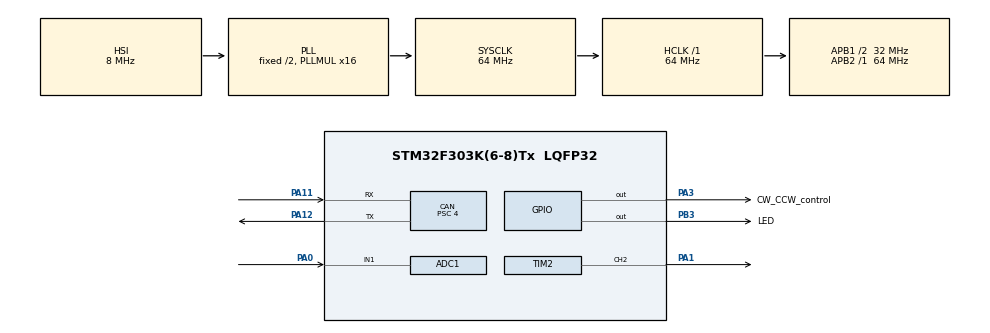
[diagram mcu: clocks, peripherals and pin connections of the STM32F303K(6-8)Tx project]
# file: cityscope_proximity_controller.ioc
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ADC1.Channel-0\#ChannelRegularConversion=ADC_CHANNEL_1
ADC1.NbrOfConversionFlag=1
ADC1.Offset-0\#ChannelRegularConversion=0
ADC1.OffsetNumber-0\#ChannelRegularConversion=ADC_OFFSET_NONE
ADC1.Rank-0\#ChannelRegularConversion=1
ADC1.SamplingTime-0\#ChannelRegularConversion=ADC_SAMPLETIME_1CYCLE_5
ADC1.SamplingTimeOPAMP-0\#ChannelRegularConversion=ADC_SAMPLETIME_61CYCLES_5
ADC1.SubFamily=STM32F303x8
ADC1.master=1
CAN.ABOM=ENABLE
CAN.AWUM=ENABLE
CAN.BS1=CAN_BS1_13TQ
CAN.BS2=CAN_BS2_2TQ
CAN.CalculateBaudRate=500000
CAN.CalculateTimeBit=2000
CAN.CalculateTimeQuantum=125.0
CAN.NART=ENABLE
CAN.Prescaler=4
CAN.RFLM=ENABLE
CAN.SJW=CAN_SJW_2TQ
CAN.TTCM=ENABLE
CAN.TXFP=ENABLE
Dma.Request0=TIM2_CH2/CH4
Dma.TIM2_CH2/CH4.0.Direction=DMA_MEMORY_TO_PERIPH
Dma.TIM2_CH2/CH4.0.Instance=DMA1_Channel7
Dma.TIM2_CH2/CH4.0.MemDataAlignment=DMA_MDATAALIGN_WORD
Dma.TIM2_CH2/CH4.0.MemInc=DMA_MINC_ENABLE
Dma.TIM2_CH2/CH4.0.Mode=DMA_NORMAL
Dma.TIM2_CH2/CH4.0.PeriphDataAlignment=DMA_PDATAALIGN_WORD
Dma.TIM2_CH2/CH4.0.PeriphInc=DMA_PINC_DISABLE
Dma.TIM2_CH2/CH4.0.Priority=DMA_PRIORITY_HIGH
FREERTOS.Tasks01=PIDTask,40,128,StartPIDTask,Default,NULL,Dynamic,NULL,NULL;canopenTask,48,128,canopen_task,Default,NULL,Dynamic,NULL,NULL
Mcu.Family=STM32F3
Mcu.Name=STM32F303K(6-8)Tx
Mcu.Package=LQFP32
NVIC.CAN_RX0_IRQn=true\:5\:0\:false\:false\:true\:true\:true\:true\:true
NVIC.CAN_RX1_IRQn=true\:5\:0\:false\:false\:true\:true\:true\:true\:true
NVIC.CAN_TX_IRQn=true\:5\:0\:false\:false\:true\:true\:true\:true\:true
NVIC.DMA1_Channel7_IRQn=true\:5\:0\:false\:false\:true\:true\:false\:true\:true
NVIC.PriorityGroup=NVIC_PRIORITYGROUP_4
NVIC.TIM1_TRG_COM_TIM17_IRQn=true\:5\:0\:false\:false\:true\:true\:true\:true\:true
NVIC.TIM1_UP_TIM16_IRQn=true\:15\:0\:false\:false\:true\:false\:false\:true\:true
NVIC.TIM2_IRQn=true\:5\:0\:false\:false\:true\:true\:true\:true\:true
NVIC.TIM6_DAC1_IRQn=true\:5\:0\:false\:false\:true\:true\:true\:true\:true
NVIC.TimeBase=TIM1_UP_TIM16_IRQn
NVIC.TimeBaseIP=TIM1
PA0.Mode=IN1-Single-Ended
PA0.Signal=ADC1_IN1
PA1.Signal=S_TIM2_CH2
PA11.GPIO_PuPd=GPIO_PULLUP
PA11.Mode=CAN_Activate
PA11.Signal=CAN_RX
PA12.Mode=CAN_Activate
PA12.Signal=CAN_TX
PA13.Mode=Serial_Wire
PA13.Signal=SYS_JTMS-SWDIO
PA14.Mode=Serial_Wire
PA14.Signal=SYS_JTCK-SWCLK
PA3.GPIO_Label=CW_CCW_control
PA3.GPIO_Speed=GPIO_SPEED_FREQ_HIGH
PA3.PinState=GPIO_PIN_SET
PA3.Signal=GPIO_Output
PB3.GPIO_Label=LED
PB3.Signal=GPIO_Output
ProjectManager.HeapSize=0x200
ProjectManager.StackSize=0x400
ProjectManager.TargetToolchain=Makefile
RCC.AHBFreq_Value=64000000
RCC.APB1CLKDivider=RCC_HCLK_DIV2
RCC.APB1Freq_Value=32000000
RCC.APB1TimFreq_Value=64000000
RCC.APB2Freq_Value=64000000
RCC.APB2TimFreq_Value=64000000
RCC.CortexFreq_Value=64000000
RCC.HCLKFreq_Value=64000000
RCC.HSE_VALUE=8000000
RCC.HSI_VALUE=8000000
RCC.PLLMUL=RCC_PLL_MUL16
RCC.SYSCLKFreq_VALUE=64000000
RCC.SYSCLKSourceVirtual=RCC_SYSCLKSOURCE_PLLCLK
SH.S_TIM2_CH2.0=TIM2_CH2,PWM Generation2 CH2
TIM17.Period=1000
TIM17.Prescaler=63
TIM2.AutoReloadPreload=TIM_AUTORELOAD_PRELOAD_ENABLE
TIM2.Channel-PWM\ Generation2\ CH2=TIM_CHANNEL_2
TIM2.Period=100-1
TIM2.Prescaler=32-1
TIM6.Period=20000-1
TIM6.Prescaler=640-1
VP_FREERTOS_VS_CMSIS_V2.Mode=CMSIS_V2
VP_SYS_VS_tim1.Mode=TIM1
VP_TIM17_VS_ClockSourceINT.Mode=Enable_Timer
VP_TIM2_VS_ClockSourceINT.Mode=Internal
VP_TIM3_VS_ClockSourceINT.Mode=Internal
VP_TIM6_VS_ClockSourceINT.Mode=Enable_Timer
board=custom

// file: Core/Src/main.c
/* USER CODE BEGIN Header */
/**
 ******************************************************************************
 * @file           : main.c
 * @brief          : Main program body
 ******************************************************************************
 * @attention
 *
 * Copyright (c) 2023 STMicroelectronics.
 * All rights reserved.
 *
 * This software is licensed under terms that can be found in the LICENSE file
 * in the root directory of this software component.
 * If no LICENSE file comes with this software, it is provided AS-IS.
 *
 ******************************************************************************
 */
/* USER CODE END Header */
#include "main.h"
#include "cmsis_os.h"
#include "adc.h"
#include "can.h"
#include "dma.h"
#include "tim.h"
#include "gpio.h"

/* USER CODE BEGIN Includes */
#include "CO_app_STM32.h"
/* USER CODE END Includes */

void SystemClock_Config(void);
void MX_FREERTOS_Init(void);
/* USER CODE BEGIN PFP */
uint32_t get_NodeID(void);
int16_t *get_time_counter(void);
uint32_t NodeID[1];
int16_t timer_counter = 0;
/* USER CODE END PFP */

int main(void)
{

  /* MCU Configuration--------------------------------------------------------*/

  /* Reset of all peripherals, Initializes the Flash interface and the Systick. */
  HAL_Init();

  /* Configure the system clock */
  SystemClock_Config();

  /* Initialize all configured peripherals */
  MX_GPIO_Init();
  MX_DMA_Init();
  MX_CAN_Init();
  MX_TIM17_Init();
  MX_TIM3_Init();
  MX_TIM2_Init();
  MX_ADC1_Init();
  MX_TIM6_Init();
  /* USER CODE BEGIN 2 */
  HAL_TIM_Base_Start_IT(&htim6);
  /* USER CODE END 2 */

  /* Init scheduler */
  osKernelInitialize();  /* Call init function for freertos objects (in freertos.c) */
  MX_FREERTOS_Init();

  /* Start scheduler */
  osKernelStart();

  /* We should never get here as control is now taken by the scheduler */
  /* Infinite loop */
  while (1)
  {

  }
}

void SystemClock_Config(void)
{
  RCC_OscInitTypeDef RCC_OscInitStruct = {0};
  RCC_ClkInitTypeDef RCC_ClkInitStruct = {0};
  RCC_PeriphCLKInitTypeDef PeriphClkInit = {0};

  /** Initializes the RCC Oscillators according to the specified parameters
  * in the RCC_OscInitTypeDef structure.
  */
  RCC_OscInitStruct.OscillatorType = RCC_OSCILLATORTYPE_HSI;
  RCC_OscInitStruct.HSIState = RCC_HSI_ON;
  RCC_OscInitStruct.HSICalibrationValue = RCC_HSICALIBRATION_DEFAULT;
  RCC_OscInitStruct.PLL.PLLState = RCC_PLL_ON;
  RCC_OscInitStruct.PLL.PLLSource = RCC_PLLSOURCE_HSI;
  RCC_OscInitStruct.PLL.PLLMUL = RCC_PLL_MUL16;
  if (HAL_RCC_OscConfig(&RCC_OscInitStruct) != HAL_OK)
  {
    Error_Handler();
  }

  /** Initializes the CPU, AHB and APB buses clocks
  */
  RCC_ClkInitStruct.ClockType = RCC_CLOCKTYPE_HCLK|RCC_CLOCKTYPE_SYSCLK
                              |RCC_CLOCKTYPE_PCLK1|RCC_CLOCKTYPE_PCLK2;
  RCC_ClkInitStruct.SYSCLKSource = RCC_SYSCLKSOURCE_PLLCLK;
  RCC_ClkInitStruct.AHBCLKDivider = RCC_SYSCLK_DIV1;
  RCC_ClkInitStruct.APB1CLKDivider = RCC_HCLK_DIV2;
  RCC_ClkInitStruct.APB2CLKDivider = RCC_HCLK_DIV1;

  if (HAL_RCC_ClockConfig(&RCC_ClkInitStruct, FLASH_LATENCY_2) != HAL_OK)
  {
    Error_Handler();
  }
  PeriphClkInit.PeriphClockSelection = RCC_PERIPHCLK_ADC12;
  PeriphClkInit.Adc12ClockSelection = RCC_ADC12PLLCLK_DIV1;
  if (HAL_RCCEx_PeriphCLKConfig(&PeriphClkInit) != HAL_OK)
  {
    Error_Handler();
  }
}

/* USER CODE BEGIN 4 */
uint32_t get_NodeID(void)
{
  return NodeID[0];
}

int16_t *get_time_counter(void)
{
  return &timer_counter;
}
/* USER CODE END 4 */

void HAL_TIM_PeriodElapsedCallback(TIM_HandleTypeDef *htim)
{
  if (htim->Instance == TIM1) {
    HAL_IncTick();
  }
  /* USER CODE BEGIN Callback 1 */
  if (htim == canopenNodeSTM32->timerHandle)
  {
    canopen_app_interrupt();
  }
  if (htim->Instance == TIM6)
  {
    timer_counter = (timer_counter + 1) % 5;
  }
  /* USER CODE END Callback 1 */
}

void Error_Handler(void)
{
  __disable_irq();
  while (1)
  {
  }
}

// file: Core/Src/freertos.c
/* USER CODE BEGIN Header */
/**
 ******************************************************************************
 * File Name          : freertos.c
 * Description        : Code for freertos applications
 ******************************************************************************
 * @attention
 *
 * Copyright (c) 2023 STMicroelectronics.
 * All rights reserved.
 *
 * This software is licensed under terms that can be found in the LICENSE file
 * in the root directory of this software component.
 * If no LICENSE file comes with this software, it is provided AS-IS.
 *
 ******************************************************************************
 */
/* USER CODE END Header */

#include "FreeRTOS.h"
#include "task.h"
#include "main.h"
#include "cmsis_os.h"
/* USER CODE BEGIN Includes */
#include "CO_app_STM32.h"
#include "OD.h"
#include "tim.h"
#include "comment.h"
#include "can.h"
#include "pid.h"
#include "adc.h"
#define Timer_ARR 5
/* USER CODE END Includes */

/* Definitions for PIDTask */
osThreadId_t PIDTaskHandle;
const osThreadAttr_t PIDTask_attributes = {
    .name = "PIDTask",
    .stack_size = 128 * 4,
    .priority = (osPriority_t)osPriorityHigh,
};
/* Definitions for canopenTask */
osThreadId_t canopenTaskHandle;
const osThreadAttr_t canopenTask_attributes = {
    .name = "canopenTask",
    .stack_size = 128 * 4,
    .priority = (osPriority_t)osPriorityRealtime,
};

/* USER CODE BEGIN FunctionPrototypes */
PID_TypeDef TPID;
volatile double CCR_value = 0;
volatile double current_voltage = 0;
volatile double current_angle = 0;
volatile double db_target_angle = 0;

bool PID_contorl_lock = false;
int voltage_counter = 0;
volatile double previous_voltage = 0;
volatile double previos_error = 0;

bool protection_lock = false;
bool PID_safe_lock = false;

void TPDO_tarnsmit(uint8_t status, int16_t angle);
void analyze_voltage(void);
void PID_Error_handler(void);
void CW_CCW_deect(void);
void PID_init(void);
void PID_protection(void);
double abs(double a);
/* USER CODE END FunctionPrototypes */

void StartPIDTask(void *argument);
void canopen_task(void *argument);

void MX_FREERTOS_Init(void); /* (MISRA C 2004 rule 8.1) */

void MX_FREERTOS_Init(void)
{

  /* Create the thread(s) */
  /* creation of PIDTask */
  PIDTaskHandle = osThreadNew(StartPIDTask, NULL, &PIDTask_attributes);

  /* creation of canopenTask */
  canopenTaskHandle = osThreadNew(canopen_task, NULL, &canopenTask_attributes);

}

void StartPIDTask(void *argument)
{
  /* USER CODE BEGIN StartPIDTask */
  PID_init();
  /* Infinite loop */
  for (;;)
  {
    while (!PID_contorl_lock)
    {
    }
    analyze_voltage();
    CW_CCW_deect();
    PID_Compute(&TPID);
    CCR_value = abs(CCR_value);
    PID_protection();
    if (PID_safe_lock == false)
    {
      if (abs(current_angle - db_target_angle) < 2)
      {
        TIM2->CCR2 = 0;
      }
      else
      {
        TIM2->CCR2 = ((int)CCR_value * 10);
      }
    }
    else
    {
      HAL_GPIO_TogglePin(LED_GPIO_Port, LED_Pin);
    }
    osDelay(50);
  }
  /* USER CODE END StartPIDTask */
}

void canopen_task(void *argument)
{
  /* USER CODE BEGIN canopen_task */
  CANopenNodeSTM32 canOpenNodeSTM32;
  canOpenNodeSTM32.CANHandle = &hcan;
  canOpenNodeSTM32.HWInitFunction = MX_CAN_Init;
  canOpenNodeSTM32.timerHandle = &htim17;
  canOpenNodeSTM32.desiredNodeID = 17;
  canOpenNodeSTM32.baudrate = 125;
  canopen_app_init(&canOpenNodeSTM32);
  int8_t pre_target_angle = OD_PERSIST_COMM.x6001_target_angle;
  uint8_t pre_target_CW_CCW = OD_PERSIST_COMM.x6004_target_CW_CCW;
  db_target_angle = OD_PERSIST_COMM.x6001_target_angle;
  /* Infinite loop */
  for (;;)
  {
    canopen_app_process();
    if (OD_PERSIST_COMM.x6001_target_angle != pre_target_angle || OD_PERSIST_COMM.x6004_target_CW_CCW != pre_target_CW_CCW)
    {
      PID_contorl_lock = true;
      if (OD_PERSIST_COMM.x6001_target_angle > 40 && OD_PERSIST_COMM.x6004_target_CW_CCW == 0)
      {
        db_target_angle = 35;
        TPDO_tarnsmit(6, 99);
      }
      else if (OD_PERSIST_COMM.x6001_target_angle < 40 && OD_PERSIST_COMM.x6004_target_CW_CCW == 0)
      {
        db_target_angle = (double)OD_PERSIST_COMM.x6001_target_angle;
      }
      else if (OD_PERSIST_COMM.x6001_target_angle > 40 && OD_PERSIST_COMM.x6004_target_CW_CCW == 1)
      {
        db_target_angle = 40 * -1;
        TPDO_tarnsmit(6, 99);
      }
      else if (OD_PERSIST_COMM.x6001_target_angle < 40 && OD_PERSIST_COMM.x6004_target_CW_CCW == 1)
      {
        db_target_angle = (double)OD_PERSIST_COMM.x6001_target_angle * -1;
      }
      pre_target_angle = OD_PERSIST_COMM.x6001_target_angle;
      pre_target_CW_CCW = OD_PERSIST_COMM.x6004_target_CW_CCW;
    }
    osDelay(100);
  }
  /* USER CODE END canopen_task */
}
/* USER CODE BEGIN Application */
void analyze_voltage(void)
{
  if (voltage_counter == 0)
  {
    previous_voltage = current_voltage;
    previos_error = abs(current_angle - db_target_angle);
  }
  HAL_ADC_Start(&hadc1);
  HAL_ADC_PollForConversion(&hadc1, 1);
  current_voltage = HAL_ADC_GetValue(&hadc1);
  current_voltage = ((current_voltage / 4096) * 3.3);
  current_angle = (int)(((current_voltage * 2) - 1.6) * 25 - 25); // min_voltage => 1.6  mid_voltage => 2.6 Max_voltage => 4.4  25degree/1Voltage
  if (voltage_counter == 4)
  {
    protection_lock = true;
  }
  else
  {
    protection_lock = false;
  }
  voltage_counter = (voltage_counter + 1) % Timer_ARR;
  if (current_angle >= 0)
  {
    OD_PERSIST_COMM.x6005_current_CW_CCW = 0;
  }
  else
  {
    OD_PERSIST_COMM.x6005_current_CW_CCW = 1;
  }
}
void PID_protection(void)
{
  if (current_angle > 40 || current_voltage < -40) // outof voltage range 4.4v ~ 1.6v
  {
    PID_Error_handler();
    TPDO_tarnsmit(2, 99); // 2.reach limit
  }
  else
  {
    TPDO_tarnsmit(0, abs(current_angle)); // 0.normal output
  }
}
void PID_init(void)
{
  TIM2->CCR2 = 0; // CCR_value bigger the rpm will highter 0~100
  HAL_TIM_PWM_Start(&htim2, TIM_CHANNEL_2);
  HAL_GPIO_WritePin(CW_CCW_control_GPIO_Port, CW_CCW_control_Pin, 1);
  osDelay(500);
  analyze_voltage();
  // db_target_angle = Virtual_target_angle;
  PID(&TPID, &current_angle, &CCR_value, &db_target_angle, 0.3, 0, 0, _PID_P_ON_E, _PID_CD_DIRECT); // input output target
  PID_SetMode(&TPID, _PID_MODE_AUTOMATIC);
  PID_SetSampleTime(&TPID, 50);
  PID_SetOutputLimits(&TPID, -10, 10);
}
void CW_CCW_deect(void)
{
  if (current_angle < db_target_angle)
  {
    HAL_GPIO_WritePin(CW_CCW_control_GPIO_Port, CW_CCW_control_Pin, 0);
  }
  else
  {
    HAL_GPIO_WritePin(CW_CCW_control_GPIO_Port, CW_CCW_control_Pin, 1);
  }
}
void PID_Error_handler(void)
{
  TIM2->CCR2 = 0;
  PID_safe_lock = true;
}
double abs(double a)
{
  if (a < 0)
  {
    return (a * -1);
  }
  return a;
}
void TPDO_tarnsmit(uint8_t status, int16_t angle)
{
  OD_PERSIST_COMM.x6000_current_angle = angle;
  OD_PERSIST_COMM.x6003_status = status;
  OD_set_u16(OD_find(OD, 0x6000), 0x000, OD_PERSIST_COMM.x6000_current_angle, false); // change_obj, index change , value,false
  OD_set_u8(OD_find(OD, 0x6003), 0x000, OD_PERSIST_COMM.x6003_status, false);
  OD_set_u8(OD_find(OD, 0x6005), 0x000, OD_PERSIST_COMM.x6005_current_CW_CCW, false);
  CO_TPDOsendRequest(&canopenNodeSTM32->canOpenStack->TPDO[0]);
}
/* USER CODE END Application */
